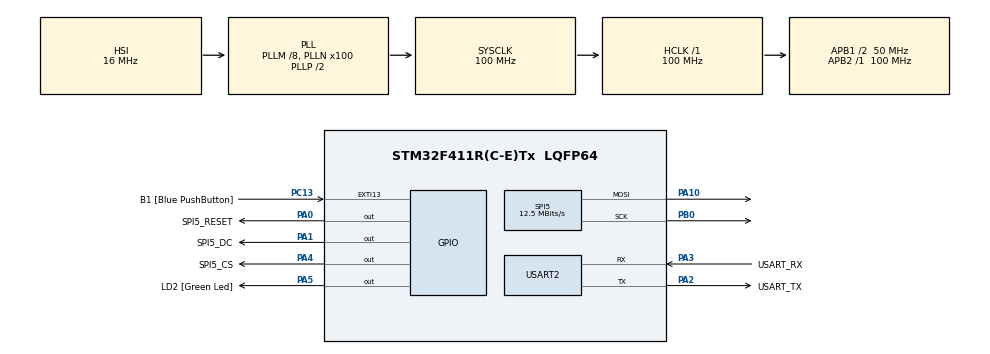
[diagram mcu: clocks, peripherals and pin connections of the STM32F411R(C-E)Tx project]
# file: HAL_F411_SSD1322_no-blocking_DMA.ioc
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Dma.Request0=SPI5_TX
Dma.SPI5_TX.0.Direction=DMA_MEMORY_TO_PERIPH
Dma.SPI5_TX.0.FIFOMode=DMA_FIFOMODE_DISABLE
Dma.SPI5_TX.0.Instance=DMA2_Stream4
Dma.SPI5_TX.0.MemDataAlignment=DMA_MDATAALIGN_BYTE
Dma.SPI5_TX.0.MemInc=DMA_MINC_ENABLE
Dma.SPI5_TX.0.Mode=DMA_NORMAL
Dma.SPI5_TX.0.PeriphDataAlignment=DMA_PDATAALIGN_BYTE
Dma.SPI5_TX.0.PeriphInc=DMA_PINC_DISABLE
Dma.SPI5_TX.0.Priority=DMA_PRIORITY_LOW
Mcu.Family=STM32F4
Mcu.Name=STM32F411R(C-E)Tx
Mcu.Package=LQFP64
NVIC.DMA2_Stream4_IRQn=true\:0\:0\:false\:false\:true\:false\:true\:true
NVIC.PriorityGroup=NVIC_PRIORITYGROUP_0
NVIC.SPI5_IRQn=true\:0\:0\:false\:false\:true\:true\:true\:true
PA0-WKUP.GPIO_Label=SPI5_RESET
PA0-WKUP.Signal=GPIO_Output
PA1.GPIO_Label=SPI5_DC
PA1.Signal=GPIO_Output
PA10.Mode=TX_Only_Simplex_Unidirect_Master
PA10.Signal=SPI5_MOSI
PA13.GPIO_Label=TMS
PA13.Mode=Serial_Wire
PA13.Signal=SYS_JTMS-SWDIO
PA14.GPIO_Label=TCK
PA14.Mode=Serial_Wire
PA14.Signal=SYS_JTCK-SWCLK
PA2.GPIO_Label=USART_TX
PA2.Mode=Asynchronous
PA2.Signal=USART2_TX
PA3.GPIO_Label=USART_RX
PA3.Mode=Asynchronous
PA3.Signal=USART2_RX
PA4.GPIO_Label=SPI5_CS
PA4.Signal=GPIO_Output
PA5.GPIO_Label=LD2 [Green Led]
PA5.Signal=GPIO_Output
PB0.Mode=TX_Only_Simplex_Unidirect_Master
PB0.Signal=SPI5_SCK
PB3.GPIO_Label=SWO
PB3.Signal=SYS_JTDO-SWO
PC13-ANTI_TAMP.GPIO_Label=B1 [Blue PushButton]
PC13-ANTI_TAMP.GPIO_ModeDefaultEXTI=GPIO_MODE_IT_FALLING
PC13-ANTI_TAMP.Signal=GPXTI13
PC14-OSC32_IN.Mode=LSE-External-Oscillator
PC14-OSC32_IN.Signal=RCC_OSC32_IN
PC15-OSC32_OUT.Mode=LSE-External-Oscillator
PC15-OSC32_OUT.Signal=RCC_OSC32_OUT
PH0\ -\ OSC_IN.Mode=HSE-External-Clock-Source
PH0\ -\ OSC_IN.Signal=RCC_OSC_IN
PH1\ -\ OSC_OUT.Mode=HSE-External-Clock-Source
PH1\ -\ OSC_OUT.Signal=RCC_OSC_OUT
ProjectManager.HeapSize=0x200
ProjectManager.StackSize=0x400
ProjectManager.TargetToolchain=STM32CubeIDE
RCC.48MHZClocksFreq_Value=50000000
RCC.AHBFreq_Value=100000000
RCC.APB1CLKDivider=RCC_HCLK_DIV2
RCC.APB1Freq_Value=50000000
RCC.APB1TimFreq_Value=100000000
RCC.APB2Freq_Value=100000000
RCC.APB2TimFreq_Value=100000000
RCC.CortexFreq_Value=100000000
RCC.FLatency-AdvancedSettings=FLASH_LATENCY_3
RCC.HCLKFreq_Value=100000000
RCC.HSE_VALUE=8000000
RCC.HSI_VALUE=16000000
RCC.PLLM=8
RCC.PLLN=100
RCC.SYSCLKFreq_VALUE=100000000
RCC.SYSCLKSource=RCC_SYSCLKSOURCE_PLLCLK
RCC.VCOOutputFreq_Value=200000000
SPI5.BaudRatePrescaler=SPI_BAUDRATEPRESCALER_8
SPI5.CLKPhase=SPI_PHASE_2EDGE
SPI5.CLKPolarity=SPI_POLARITY_HIGH
SPI5.CalculateBaudRate=12.5 MBits/s
SPI5.Direction=SPI_DIRECTION_2LINES
SPI5.Mode=SPI_MODE_MASTER
SPI5.VirtualType=VM_MASTER
USART2.VirtualMode=VM_ASYNC
board=NUCLEO-F411RE

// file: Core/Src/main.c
/* USER CODE BEGIN Header */
/**
 ******************************************************************************
 * @file           : main.c
 * @brief          : Main program body
 ******************************************************************************
 * @attention
 *
 * <h2><center>&copy; Copyright (c) 2020 STMicroelectronics.
 * All rights reserved.</center></h2>
 *
 * This software component is licensed by ST under BSD 3-Clause license,
 * the "License"; You may not use this file except in compliance with the
 * License. You may obtain a copy of the License at:
 *                        opensource.org/licenses/BSD-3-Clause
 *
 ******************************************************************************
 */
/* USER CODE END Header */
#include "main.h"
#include "dma.h"
#include "spi.h"
#include "usart.h"
#include "gpio.h"

/* USER CODE BEGIN Includes */
#include "SSD1322_OLED_lib/SSD1322_HW_Driver.h"
#include "SSD1322_OLED_lib/SSD1322_API.h"
#include "SSD1322_OLED_lib/SSD1322_GFX.h"

#include "SSD1322_OLED_lib/Fonts/FreeMono12pt7b.h"
#include "SSD1322_OLED_lib/Fonts/FreeSansOblique9pt7b.h"

#include "tom_and_jerry.h"
#include "creeper.h"
#include "krecik.h"
#include "pat_i_mat.h"
#include "stars_4bpp.h"

/* USER CODE END Includes */

/* USER CODE BEGIN PV */

volatile uint8_t SPI5_TX_completed_flag = 1;    //flag indicating finish of SPI transmission

/* USER CODE END PV */

void SystemClock_Config(void);

/* USER CODE BEGIN 0 */

//SPI transmission finished interrupt callback
void HAL_SPI_TxCpltCallback(SPI_HandleTypeDef *hspi)
{
	SSD1322_HW_drive_CS_high();
	SPI5_TX_completed_flag = 1;
}

/* USER CODE END 0 */

int main(void)
{

  /* MCU Configuration--------------------------------------------------------*/

  /* Reset of all peripherals, Initializes the Flash interface and the Systick. */
  HAL_Init();

  /* Configure the system clock */
  SystemClock_Config();

  /* Initialize all configured peripherals */
  MX_GPIO_Init();
  MX_DMA_Init();
  MX_USART2_UART_Init();
  MX_SPI5_Init();

  /* Infinite loop */
  /* USER CODE BEGIN WHILE */

	/*==================================== DEMO CODE START ============================================*/

	/* NOTE:
	 * This example uses DMA in non-blocking mode. In transmit functions DMA is only set to start transmission,
	 * but later CPU goes on. CS pin is pulled down by CPU before transmission start and it is later pulled high
	 * again in HAL_SPI_TxCpltCallback(). This requires removing SSD1322_HW_drive_CS_high() function from all
	 * API functions that use SPI transmissions and adding a while(!SPI5_TX_completed_flag) on the beggining of
	 * all this functions.
	 *
	 * SPI data transfer blocks CPU only of previous one hasn't been finished yet.
	 */

	// Declare bytes array for a frame buffer.
	// Dimensions are divided by 2 because one byte contains two 4-bit grayscale pixels
	uint8_t tx_buf[256 * 64 / 2];

	//Call initialization sequence for SSD1322
	SSD1322_API_init();

	while (1)
	{
		//Set frame buffer size in pixels - it is used to avoid writing to memory outside frame buffer
		//Normally it has to only be done once on initialization, but buffer size is changed near the end of while(1);.
		set_buffer_size(256, 64);
		// Fill buffer with zeros to clear any garbage values
		fill_buffer(tx_buf, 0);

		// send a frame buffer to the display
		send_buffer_to_OLED(tx_buf, 0, 0);
		HAL_Delay(2000);

		// Let's try some features of this OLED display

		// First, draw some pixels on frame buffer
		// draw_pixel(frame_buffer, x, y, brightness);
		draw_pixel(tx_buf, 10, 10, 1);
		draw_pixel(tx_buf, 15, 15, 5);
		draw_pixel(tx_buf, 20, 20, 9);
		draw_pixel(tx_buf, 25, 25, 15);

		// send a frame buffer to the display
		send_buffer_to_OLED(tx_buf, 0, 0);
		HAL_Delay(2000);

		// draw vertical and horizontal lines
		draw_hline(tx_buf, 31, 20, 50, 10);
		draw_vline(tx_buf, 31, 0, 31, 10);

		// send a frame buffer to the display
		send_buffer_to_OLED(tx_buf, 0, 0);
		HAL_Delay(2000);

		// draw simple oblique line
		draw_line(tx_buf, 40, 0, 80, 31, 12);
		// send a frame buffer to the display
		send_buffer_to_OLED(tx_buf, 0, 0);
		HAL_Delay(2000);

		// draw antialiased oblique line. It should appear softer and nicer than a simple one
		draw_AA_line(tx_buf, 50, 0, 90, 31, 12);
		// send a frame buffer to the display
		send_buffer_to_OLED(tx_buf, 0, 0);
		HAL_Delay(2000);

		//draw circle, empty rectangle and filled rectangle
		draw_circle(tx_buf, 180, 20, 20, 15);
		draw_rect(tx_buf, 100, 5, 120, 25, 15);
		draw_rect_filled(tx_buf, 124, 5, 144, 25, 8);
		// send a frame buffer to the display
		send_buffer_to_OLED(tx_buf, 0, 0);
		HAL_Delay(2000);

		//clean buffer
		fill_buffer(tx_buf, 0);

		//display 8-bit grayscale bitmap (ony first 4 bits are actually written to memory)
		draw_bitmap_8bpp(tx_buf, pat_i_mat, 0, 0, 64, 64);
		draw_bitmap_8bpp(tx_buf, krecik, 128, 0, 64, 64);
		// send a frame buffer to the display
		send_buffer_to_OLED(tx_buf, 0, 0);
		HAL_Delay(5000);

		//display 4-bit grayscale bitmap (one byte in bitmap array corresponds to two pixels)
		draw_bitmap_4bpp(tx_buf, stars_4bpp, 0, 0, 256, 64);
		send_buffer_to_OLED(tx_buf, 0, 0);
		HAL_Delay(3000);

		//you can invert screen colors using API function
		SSD1322_API_set_display_mode(SSD1322_MODE_INVERTED);
		HAL_Delay(2000);
		//pixels can be also turned on or off
		SSD1322_API_set_display_mode(SSD1322_MODE_ON);
		HAL_Delay(1000);
		SSD1322_API_set_display_mode(SSD1322_MODE_OFF);
		HAL_Delay(1000);
		//ok, go back to normal
		SSD1322_API_set_display_mode(SSD1322_MODE_NORMAL);
		HAL_Delay(500);

		//exact grayscale values can be set individually for each level from 0 to 15 - always send 16 byte array of values 0-180
		uint8_t grayscale_tab[16] = {0, 5, 10, 15, 20, 25, 30, 35, 145, 150, 155, 160, 165, 170, 175, 180};
		SSD1322_API_custom_grayscale(grayscale_tab);
		HAL_Delay(2000);
		//New grayscale values should be close to black in darker areas and close to white in brighter

		//reset grayscale to default linear values
		SSD1322_API_default_grayscale();
		HAL_Delay(2000);

		//display can be set to sleep mode and then woken up
		SSD1322_API_sleep_on();
		HAL_Delay(1000);
		SSD1322_API_sleep_off();

		//clean buffer
		fill_buffer(tx_buf, 0);

		// now let's try to write some text with a font
		// first thing to do is font selection
		select_font(&FreeMono12pt7b);
		// now text will we written with that font
		draw_text(tx_buf, "Lorem ipsum", 10, 20, 15);
		// send a frame buffer to the display
		send_buffer_to_OLED(tx_buf, 0, 0);
		HAL_Delay(2000);

		//change font to a differen one
		select_font(&FreeSansOblique9pt7b);
		draw_text(tx_buf, "dolor sit amet", 10, 45, 15);
		// send a frame buffer to the display
		send_buffer_to_OLED(tx_buf, 0, 0);
		HAL_Delay(2000);

		//you can use frame buffer that is bigger than default 256x64 pixels.
		//Remember to divide size by two, because one byte stores two pixels.

		uint8_t tx_buf2[256*256 / 2];
		set_buffer_size(256, 256);

		//now print a huge bitmap into frame buffer
		draw_bitmap_8bpp(tx_buf2, creeper, 0, 0, 256, 256);
		send_buffer_to_OLED(tx_buf2, 0, 0);
		HAL_Delay(2000);

		//only 1/4 of image is seen, so let's scroll the frame buffer down
		for(int i = 0; i < 192; i++)
		{
			send_buffer_to_OLED(tx_buf2, 0, i);
			HAL_Delay(5);
		}
		HAL_Delay(200);
		for (int i = 191; i >= 0; i--)
		{
			send_buffer_to_OLED(tx_buf2, 0, i);
			HAL_Delay(5);
		}
		HAL_Delay(2000);
		/*==================================== DEMO CODE END ============================================*/

    /* USER CODE END WHILE */

    /* USER CODE BEGIN 3 */
		/*==================================== DEMO CODE END ============================================*/
    /* USER CODE END WHILE */

    /* USER CODE BEGIN 3 */
	}
  /* USER CODE END 3 */
}

void SystemClock_Config(void)
{
  RCC_OscInitTypeDef RCC_OscInitStruct = {0};
  RCC_ClkInitTypeDef RCC_ClkInitStruct = {0};

  /** Configure the main internal regulator output voltage
  */
  __HAL_RCC_PWR_CLK_ENABLE();
  __HAL_PWR_VOLTAGESCALING_CONFIG(PWR_REGULATOR_VOLTAGE_SCALE1);

  /** Initializes the RCC Oscillators according to the specified parameters
  * in the RCC_OscInitTypeDef structure.
  */
  RCC_OscInitStruct.OscillatorType = RCC_OSCILLATORTYPE_HSI;
  RCC_OscInitStruct.HSIState = RCC_HSI_ON;
  RCC_OscInitStruct.HSICalibrationValue = RCC_HSICALIBRATION_DEFAULT;
  RCC_OscInitStruct.PLL.PLLState = RCC_PLL_ON;
  RCC_OscInitStruct.PLL.PLLSource = RCC_PLLSOURCE_HSI;
  RCC_OscInitStruct.PLL.PLLM = 8;
  RCC_OscInitStruct.PLL.PLLN = 100;
  RCC_OscInitStruct.PLL.PLLP = RCC_PLLP_DIV2;
  RCC_OscInitStruct.PLL.PLLQ = 4;
  if (HAL_RCC_OscConfig(&RCC_OscInitStruct) != HAL_OK)
  {
    Error_Handler();
  }

  /** Initializes the CPU, AHB and APB buses clocks
  */
  RCC_ClkInitStruct.ClockType = RCC_CLOCKTYPE_HCLK|RCC_CLOCKTYPE_SYSCLK
                              |RCC_CLOCKTYPE_PCLK1|RCC_CLOCKTYPE_PCLK2;
  RCC_ClkInitStruct.SYSCLKSource = RCC_SYSCLKSOURCE_PLLCLK;
  RCC_ClkInitStruct.AHBCLKDivider = RCC_SYSCLK_DIV1;
  RCC_ClkInitStruct.APB1CLKDivider = RCC_HCLK_DIV2;
  RCC_ClkInitStruct.APB2CLKDivider = RCC_HCLK_DIV1;

  if (HAL_RCC_ClockConfig(&RCC_ClkInitStruct, FLASH_LATENCY_3) != HAL_OK)
  {
    Error_Handler();
  }
}

void Error_Handler(void)
{
}
